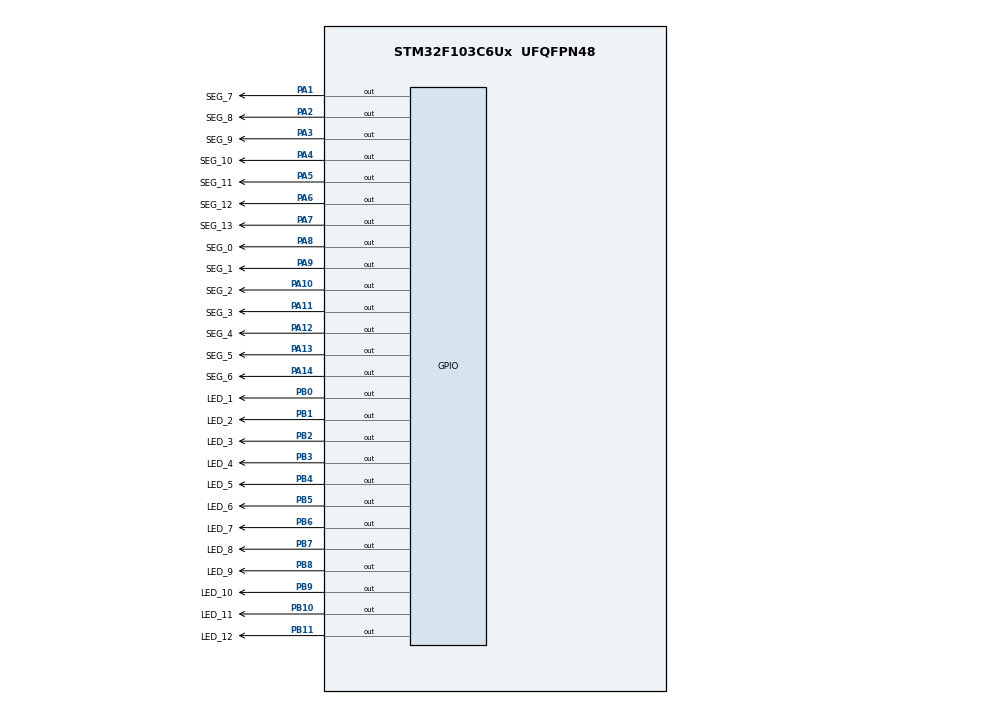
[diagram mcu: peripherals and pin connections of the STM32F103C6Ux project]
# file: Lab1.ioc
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Mcu.Family=STM32F1
Mcu.Name=STM32F103C6Ux
Mcu.Package=UFQFPN48
NVIC.PriorityGroup=NVIC_PRIORITYGROUP_4
PA1.GPIO_Label=SEG_7
PA1.Signal=GPIO_Output
PA10.GPIO_Label=SEG_2
PA10.Signal=GPIO_Output
PA11.GPIO_Label=SEG_3
PA11.Signal=GPIO_Output
PA12.GPIO_Label=SEG_4
PA12.Signal=GPIO_Output
PA13.GPIO_Label=SEG_5
PA13.Signal=GPIO_Output
PA14.GPIO_Label=SEG_6
PA14.Signal=GPIO_Output
PA2.GPIO_Label=SEG_8
PA2.Signal=GPIO_Output
PA3.GPIO_Label=SEG_9
PA3.Signal=GPIO_Output
PA4.GPIO_Label=SEG_10
PA4.Signal=GPIO_Output
PA5.GPIO_Label=SEG_11
PA5.Signal=GPIO_Output
PA6.GPIO_Label=SEG_12
PA6.Signal=GPIO_Output
PA7.GPIO_Label=SEG_13
PA7.Signal=GPIO_Output
PA8.GPIO_Label=SEG_0
PA8.Signal=GPIO_Output
PA9.GPIO_Label=SEG_1
PA9.Signal=GPIO_Output
PB0.GPIO_Label=LED_1
PB0.Signal=GPIO_Output
PB1.GPIO_Label=LED_2
PB1.Signal=GPIO_Output
PB10.GPIO_Label=LED_11
PB10.Signal=GPIO_Output
PB11.GPIO_Label=LED_12
PB11.Signal=GPIO_Output
PB2.GPIO_Label=LED_3
PB2.Signal=GPIO_Output
PB3.GPIO_Label=LED_4
PB3.Signal=GPIO_Output
PB4.GPIO_Label=LED_5
PB4.Signal=GPIO_Output
PB5.GPIO_Label=LED_6
PB5.Signal=GPIO_Output
PB6.GPIO_Label=LED_7
PB6.Signal=GPIO_Output
PB7.GPIO_Label=LED_8
PB7.Signal=GPIO_Output
PB8.GPIO_Label=LED_9
PB8.Signal=GPIO_Output
PB9.GPIO_Label=LED_10
PB9.Signal=GPIO_Output
ProjectManager.HeapSize=0x200
ProjectManager.StackSize=0x400
ProjectManager.TargetToolchain=STM32CubeIDE
RCC.APB1Freq_Value=8000000
RCC.APB2Freq_Value=8000000
VP_SYS_VS_ND.Mode=No_Debug
board=custom

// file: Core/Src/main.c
/* USER CODE BEGIN Header */
/**
  ******************************************************************************
  * @file           : main.c
  * @brief          : Main program body
  ******************************************************************************
  * @attention
  *
  * <h2><center>&copy; Copyright (c) 2024 STMicroelectronics.
  * All rights reserved.</center></h2>
  *
  * This software component is licensed by ST under BSD 3-Clause license,
  * the "License"; You may not use this file except in compliance with the
  * License. You may obtain a copy of the License at:
  *                        opensource.org/licenses/BSD-3-Clause
  *
  ******************************************************************************
  */
/* USER CODE END Header */
#include "main.h"

void SystemClock_Config(void);
static void MX_GPIO_Init(void);

void clearAllClock () {
	  HAL_GPIO_WritePin(LED_1_GPIO_Port, LED_1_Pin, 0);
	  HAL_GPIO_WritePin(LED_2_GPIO_Port, LED_2_Pin, 0);
	  HAL_GPIO_WritePin(LED_3_GPIO_Port, LED_3_Pin, 0);
	  HAL_GPIO_WritePin(LED_4_GPIO_Port, LED_4_Pin, 0);
	  HAL_GPIO_WritePin(LED_5_GPIO_Port, LED_5_Pin, 0);
	  HAL_GPIO_WritePin(LED_6_GPIO_Port, LED_6_Pin, 0);
	  HAL_GPIO_WritePin(LED_7_GPIO_Port, LED_7_Pin, 0);
	  HAL_GPIO_WritePin(LED_8_GPIO_Port, LED_8_Pin, 0);
	  HAL_GPIO_WritePin(LED_9_GPIO_Port, LED_9_Pin, 0);
	  HAL_GPIO_WritePin(LED_10_GPIO_Port, LED_10_Pin, 0);
	  HAL_GPIO_WritePin(LED_11_GPIO_Port, LED_11_Pin, 0);
	  HAL_GPIO_WritePin(LED_12_GPIO_Port, LED_12_Pin, 0);
}
void setNumberOnClock(int num){
	switch(num){
	case 0: HAL_GPIO_WritePin(LED_1_GPIO_Port, LED_1_Pin, 1);
			break;
	case 1: HAL_GPIO_WritePin(LED_2_GPIO_Port, LED_2_Pin, 1);
			break;
	case 2: HAL_GPIO_WritePin(LED_3_GPIO_Port, LED_3_Pin, 1);
			break;
	case 3: HAL_GPIO_WritePin(LED_4_GPIO_Port, LED_4_Pin, 1);
			break;
	case 4: HAL_GPIO_WritePin(LED_5_GPIO_Port, LED_5_Pin, 1);
			break;
	case 5: HAL_GPIO_WritePin(LED_6_GPIO_Port, LED_6_Pin, 1);
			break;
	case 6: HAL_GPIO_WritePin(LED_7_GPIO_Port, LED_7_Pin, 1);
			break;
	case 7: HAL_GPIO_WritePin(LED_8_GPIO_Port, LED_8_Pin, 1);
			break;
	case 8: HAL_GPIO_WritePin(LED_9_GPIO_Port, LED_9_Pin, 1);
			break;
	case 9: HAL_GPIO_WritePin(LED_10_GPIO_Port, LED_10_Pin, 1);
			break;
	case 10: HAL_GPIO_WritePin(LED_11_GPIO_Port, LED_11_Pin, 1);
			break;
	case 11: HAL_GPIO_WritePin(LED_12_GPIO_Port, LED_12_Pin, 1);
			break;
	default:
			break;
	}
}
void clearNumberOnClock(int num){
	switch(num){
	case 0: HAL_GPIO_WritePin(LED_1_GPIO_Port, LED_1_Pin, 0);
			break;
	case 1: HAL_GPIO_WritePin(LED_2_GPIO_Port, LED_2_Pin, 0);
			break;
	case 2: HAL_GPIO_WritePin(LED_3_GPIO_Port, LED_3_Pin, 0);
			break;
	case 3: HAL_GPIO_WritePin(LED_4_GPIO_Port, LED_4_Pin, 0);
			break;
	case 4: HAL_GPIO_WritePin(LED_5_GPIO_Port, LED_5_Pin, 0);
			break;
	case 5: HAL_GPIO_WritePin(LED_6_GPIO_Port, LED_6_Pin, 0);
			break;
	case 6: HAL_GPIO_WritePin(LED_7_GPIO_Port, LED_7_Pin, 0);
			break;
	case 7: HAL_GPIO_WritePin(LED_8_GPIO_Port, LED_8_Pin, 0);
			break;
	case 8: HAL_GPIO_WritePin(LED_9_GPIO_Port, LED_9_Pin, 0);
			break;
	case 9: HAL_GPIO_WritePin(LED_10_GPIO_Port, LED_10_Pin, 0);
			break;
	case 10: HAL_GPIO_WritePin(LED_11_GPIO_Port, LED_11_Pin, 0);
			break;
	case 11: HAL_GPIO_WritePin(LED_12_GPIO_Port, LED_12_Pin, 0);
			break;
	default:
			break;
	}
}
int main(void)
{

  /* MCU Configuration--------------------------------------------------------*/

  /* Reset of all peripherals, Initializes the Flash interface and the Systick. */
  HAL_Init();

  /* Configure the system clock */
  SystemClock_Config();

  /* Initialize all configured peripherals */
  MX_GPIO_Init();

  /* Infinite loop */
  /* USER CODE BEGIN WHILE */
  int minute=0;
  int hour=6;
  int second=0;
  int s_second=0;
  int s_minute=10;
  while (1)
  {
		  clearNumberOnClock(s_second);
		  second++;
		  	  if(second==4)s_second++;
			  if(second==5){
				  second=0;
				  if(s_second==11){
					  minute++;
	  				  if(minute==4){
		 			  clearNumberOnClock(s_minute);
					  	s_minute++;
			 		   if(s_minute==11){
				  		clearNumberOnClock(hour);
				   		hour++;
				 	     }
	  				  }
				  }

			  }
			  if(s_second==12){
			  	  s_second=0;
			  				  	}
			  if(minute==5){
			  	 minute=0;
			  			  	  }

			  if(s_minute==12){
			  			  s_minute=0;

			  			  }
			  setNumberOnClock(hour);
			  setNumberOnClock(s_minute);
			  setNumberOnClock(s_second);
			  HAL_Delay(10);

    /* USER CODE END WHILE */

  }
}

void SystemClock_Config(void)
{
  RCC_OscInitTypeDef RCC_OscInitStruct = {0};
  RCC_ClkInitTypeDef RCC_ClkInitStruct = {0};

  /** Initializes the RCC Oscillators according to the specified parameters
  * in the RCC_OscInitTypeDef structure.
  */
  RCC_OscInitStruct.OscillatorType = RCC_OSCILLATORTYPE_HSI;
  RCC_OscInitStruct.HSIState = RCC_HSI_ON;
  RCC_OscInitStruct.HSICalibrationValue = RCC_HSICALIBRATION_DEFAULT;
  RCC_OscInitStruct.PLL.PLLState = RCC_PLL_NONE;
  if (HAL_RCC_OscConfig(&RCC_OscInitStruct) != HAL_OK)
  {
    Error_Handler();
  }
  /** Initializes the CPU, AHB and APB buses clocks
  */
  RCC_ClkInitStruct.ClockType = RCC_CLOCKTYPE_HCLK|RCC_CLOCKTYPE_SYSCLK
                              |RCC_CLOCKTYPE_PCLK1|RCC_CLOCKTYPE_PCLK2;
  RCC_ClkInitStruct.SYSCLKSource = RCC_SYSCLKSOURCE_HSI;
  RCC_ClkInitStruct.AHBCLKDivider = RCC_SYSCLK_DIV1;
  RCC_ClkInitStruct.APB1CLKDivider = RCC_HCLK_DIV1;
  RCC_ClkInitStruct.APB2CLKDivider = RCC_HCLK_DIV1;

  if (HAL_RCC_ClockConfig(&RCC_ClkInitStruct, FLASH_LATENCY_0) != HAL_OK)
  {
    Error_Handler();
  }
}

static void MX_GPIO_Init(void)
{
  GPIO_InitTypeDef GPIO_InitStruct = {0};

  /* GPIO Ports Clock Enable */
  __HAL_RCC_GPIOA_CLK_ENABLE();

  /*Configure GPIO pin Output Level */
  HAL_GPIO_WritePin(GPIOA, LED_1_Pin|LED_2_Pin|LED_3_Pin|LED_4_Pin
                          |LED_5_Pin|LED_6_Pin|LED_7_Pin|LED_8_Pin
                          |LED_9_Pin|LED_10_Pin|LED_11_Pin|LED_12_Pin, GPIO_PIN_RESET);

  /*Configure GPIO pins : LED_1_Pin LED_2_Pin LED_3_Pin LED_4_Pin
                           LED_5_Pin LED_6_Pin LED_7_Pin LED_8_Pin
                           LED_9_Pin LED_10_Pin LED_11_Pin LED_12_Pin */
  GPIO_InitStruct.Pin = LED_1_Pin|LED_2_Pin|LED_3_Pin|LED_4_Pin
                          |LED_5_Pin|LED_6_Pin|LED_7_Pin|LED_8_Pin
                          |LED_9_Pin|LED_10_Pin|LED_11_Pin|LED_12_Pin;
  GPIO_InitStruct.Mode = GPIO_MODE_OUTPUT_PP;
  GPIO_InitStruct.Pull = GPIO_NOPULL;
  GPIO_InitStruct.Speed = GPIO_SPEED_FREQ_LOW;
  HAL_GPIO_Init(GPIOA, &GPIO_InitStruct);

}

void Error_Handler(void)
{
  __disable_irq();
  while (1)
  {
  }
}

/************************ (C) COPYRIGHT STMicroelectronics *****END OF FILE****/
